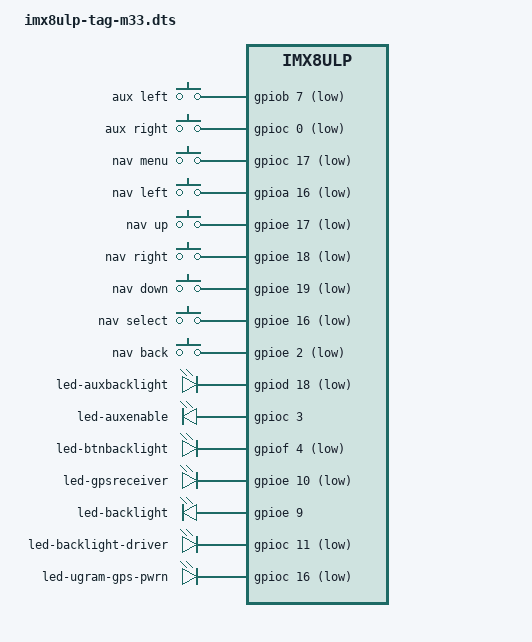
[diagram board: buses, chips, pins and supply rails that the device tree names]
// SPDX-License-Identifier: (GPL-2.0 OR MIT)
/*
 * Copyright 2022 Boundary Devices
 */

#include "imx8ulp-tag.dts"

/ {
	aliases {
		gpio0 = &gpioa;
		gpio1 = &gpiob;
		gpio2 = &gpioc;
	};

	gpioa: gpio@0 {
		compatible = "fsl,imx-rpmsg-gpio";
		port_idx = <0>;
		gpio-controller;
		#gpio-cells = <2>;
		#interrupt-cells = <2>;
		interrupt-controller;
		interrupt-parent = <&gpioa>;
		status = "okay";
	};

	gpiob: gpio@1 {
		compatible = "fsl,imx-rpmsg-gpio";
		port_idx = <1>;
		gpio-controller;
		#gpio-cells = <2>;
		#interrupt-cells = <2>;
		interrupt-controller;
		interrupt-parent = <&gpiob>;
		status = "okay";
	};

	gpioc: gpio@2 {
		compatible = "fsl,imx-rpmsg-gpio";
		port_idx = <2>;
		gpio-controller;
		#gpio-cells = <2>;
		#interrupt-cells = <2>;
		interrupt-controller;
		interrupt-parent = <&gpioc>;
		status = "okay";
	};

	gpio-keys {
		compatible = "gpio-keys";
		pinctrl-names = "default";
		pinctrl-0 = <&pinctrl_gpio_keys1>;

		aux-left {
			label = "aux left";
			gpios = <&gpiob 7 GPIO_ACTIVE_LOW>;
			linux,code = <KEY_BRIGHTNESS_TOGGLE>;
		};

		aux-right {
			label = "aux right";
			gpios = <&gpioc 0 GPIO_ACTIVE_LOW>;
			linux,code = <KEY_SCROLLDOWN>;
		};
		nav-menu {
			label = "nav menu";
			gpios = <&gpioc 17 GPIO_ACTIVE_LOW>;
			linux,code = <KEY_MENU>;
		};

		nav-left {
			label = "nav left";
			gpios = <&gpioa 16 GPIO_ACTIVE_LOW>;
			linux,code = <KEY_LEFT>;
		};

		nav-up {
			label = "nav up";
			gpios = <&gpioe 17 GPIO_ACTIVE_LOW>;
			linux,code = <KEY_UP>;
		};

		nav-right {
			label = "nav right";
			gpios = <&gpioe 18 GPIO_ACTIVE_LOW>;
			linux,code = <KEY_RIGHT>;
		};

		nav-down {
			label = "nav down";
			gpios = <&gpioe 19 GPIO_ACTIVE_LOW>;
			linux,code = <KEY_DOWN>;
		};

		nav-select {
			label = "nav select";
			gpios = <&gpioe 16 GPIO_ACTIVE_LOW>;
			linux,code = <KEY_ENTER>;
		};

		nav-back {
			label = "nav back";
			gpios = <&gpioe 2 GPIO_ACTIVE_LOW>;
			linux,code = <KEY_BACK>;
		};
	};

	imx8ulp_cm33: imx8ulp-cm33 {
		compatible = "fsl,imx8ulp-cm33", "fsl,imx7ulp-cm4";
		status = "disabled";
	};

	leds {
		compatible = "gpio-leds";
		pinctrl-names = "default";
		pinctrl-0 = <&pinctrl_gpio_leds>;

		led-auxbacklight {
			gpios = <&gpiod 18 GPIO_ACTIVE_LOW>;
		};

		led-auxenable {
			gpios = <&gpioc 3 GPIO_ACTIVE_HIGH>;
			default-state = "on";
		};

		led-btnbacklight {
			gpios = <&gpiof 4 GPIO_ACTIVE_LOW>;
		};

                led-gpsreceiver {
			gpios = <&gpioe 10 GPIO_ACTIVE_LOW>;
			default-state = "on";
		};

		led-backlight {
			gpios = <&gpioe 9 GPIO_ACTIVE_HIGH>;
			default-state = "on";
		};

		led-backlight-driver {
			gpios = <&gpioc 11 GPIO_ACTIVE_LOW>;
			default-state = "on";
		};

		led-ugram-gps-pwrn {
			gpios = <&gpioc 16 GPIO_ACTIVE_LOW>;
			default-state = "on";
		};
	};

	reserved-memory {
		rsc_table: rsc_table@1fff8000{
			reg = <0 0x1fff8000 0 0x1000>;
			no-map;
		};

		vdev0vring0: vdev0vring0@aff00000 {
			reg = <0 0xaff00000 0 0x8000>;
			no-map;
		};

		vdev0vring1: vdev0vring1@aff08000 {
			reg = <0 0xaff08000 0 0x8000>;
			no-map;
		};

		vdev1vring0: vdev1vring0@aff10000 {
			reg = <0 0xaff10000 0 0x8000>;
			no-map;
		};

		vdev1vring1: vdev1vring1@aff18000 {
			reg = <0 0xaff18000 0 0x8000>;
			no-map;
		};

		vdevbuffer: vdevbuffer@a8400000 {
			compatible = "shared-dma-pool";
			reg = <0 0xa8400000 0 0x100000>;
			no-map;
		};

		m33_reserved: m33_noncacheable_section@a8600000 {
			no-map;
			reg = <0 0xa8600000 0 0x1000000>;
		};
	};
};

&imx8ulp_cm33 {
	ipc-only;
	rsc-da=<0x1fff8000>;
	mbox-names = "tx", "rx", "rxdb";
	mboxes = <&mu 0 1
			&mu 1 1
			&mu 3 1>;
	memory-region = <&vdevbuffer>, <&vdev0vring0>, <&vdev0vring1>,
			<&vdev1vring0>, <&vdev1vring1>, <&rsc_table>;
	status = "okay";
};
